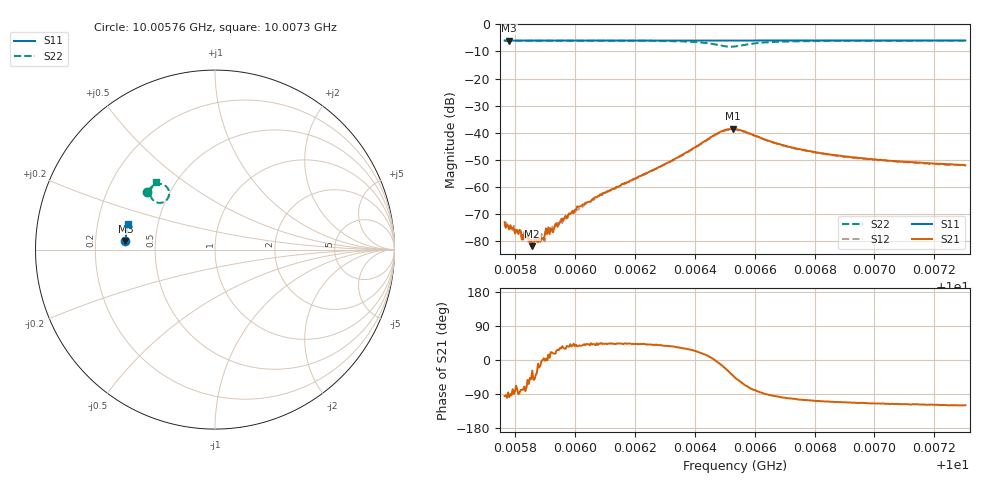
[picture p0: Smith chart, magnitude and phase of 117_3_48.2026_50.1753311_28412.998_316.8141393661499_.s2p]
#  HZ  S  RI  R  50.00
! Rohde & Schwarz Vector Network Analyzer
! Rohde-Schwarz,ZNB20-2Port,1311601062101988,3.16
! Created: UTC 3/20/2024, 11:41:15 AM
! freq[Hz]  re:S11  im:S11  re:S21  im:S21  re:S12  im:S12  re:S22  im:S22
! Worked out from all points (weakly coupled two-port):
!   401 points, 10.00576 GHz to 10.0073 GHz, reference 50 ohm
!   highest |S21| = -38.49 dB at 10.00653 GHz (marker M1); lowest = -81.8 dB at 10.00586 GHz (marker M2)
!   lowest |S11| = -6.0 dB at 10.00578 GHz (marker M3), VSWR 3.01, Z = 16.7 + j2.14 ohm
!   |S11| at or under -10 dB: nowhere
!   |S22| runs from -8.3 to -6.0 dB; largest |S21 - S12| = 0.00087
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1.0005764e10  -0.499 0.0472  -1.74e-05 -0.000225  6.38e-06 -0.000185  -0.3782 0.3233
1.0005779e10  -0.4987 0.0481  -2.35e-05 -0.000164  2.72e-05 -0.000163  -0.3775 0.3241
1.0005791e10  -0.4988 0.049  3.98e-05 -0.000173  6.84e-06 -0.000161  -0.3769 0.3249
1.0005818e10  -0.4986 0.0507  2.96e-05 -0.000152  3.02e-05 -0.000134  -0.3755 0.3268
1.0005837e10  -0.4985 0.052  3.7e-05 -0.000113  3.94e-05 -0.000112  -0.3745 0.3278
1.0005853e10  -0.4985 0.053  6.98e-05 -8.33e-05  7.98e-05 -7.01e-05  -0.3736 0.329
1.0005856e10  -0.4985 0.0531  7.18e-05 -3.82e-05  6.74e-05 -7.58e-05  -0.3736 0.3291
1.0005891e10  -0.4983 0.0555  0.000115 -2.76e-07  0.000112 1.08e-06  -0.3715 0.3313
1.0005903e10  -0.4983 0.0563  0.000173 1.14e-05  0.000139 4.41e-05  -0.3709 0.3322
1.0005918e10  -0.4981 0.0571  0.000163 6.11e-05  0.000145 4.57e-05  -0.3699 0.3331
1.000596e10  -0.4979 0.0599  0.000206 0.000129  0.000206 0.000147  -0.3674 0.336
1.0005987e10  -0.4977 0.0617  0.000273 0.000197  0.000262 0.000214  -0.3656 0.3378
1.0006022e10  -0.4975 0.064  0.000363 0.000282  0.000308 0.000273  -0.3633 0.3402
1.000608e10  -0.4971 0.0677  0.000504 0.000473  0.000473 0.000496  -0.3591 0.3442
1.000628e10  -0.4956 0.0807  0.00183 0.00148  0.00172 0.00152  -0.3358 0.3606
1.0006476e10  -0.4927 0.0932  0.00983 -0.000982  0.00961 -0.000459  -0.2574 0.3287
1.0006526e10  -0.4922 0.0957  0.0091 -0.00767  0.00916 -0.00698  -0.2782 0.2697
1.0006534e10  -0.4923 0.0962  0.00813 -0.00839  0.0084 -0.00778  -0.2872 0.2645
1.0006619e10  -0.4922 0.1014  0.000687 -0.00804  0.000998 -0.00793  -0.3541 0.2881
1.0006792e10  -0.4904 0.1127  -0.00132 -0.0043  -0.00107 -0.00427  -0.3567 0.3367
1.000705e10  -0.4869 0.129  -0.00136 -0.00274  -0.00117 -0.00278  -0.3413 0.363
1.0007304e10  -0.4828 0.145  -0.00123 -0.00219  -0.00115 -0.00223  -0.3271 0.3788
